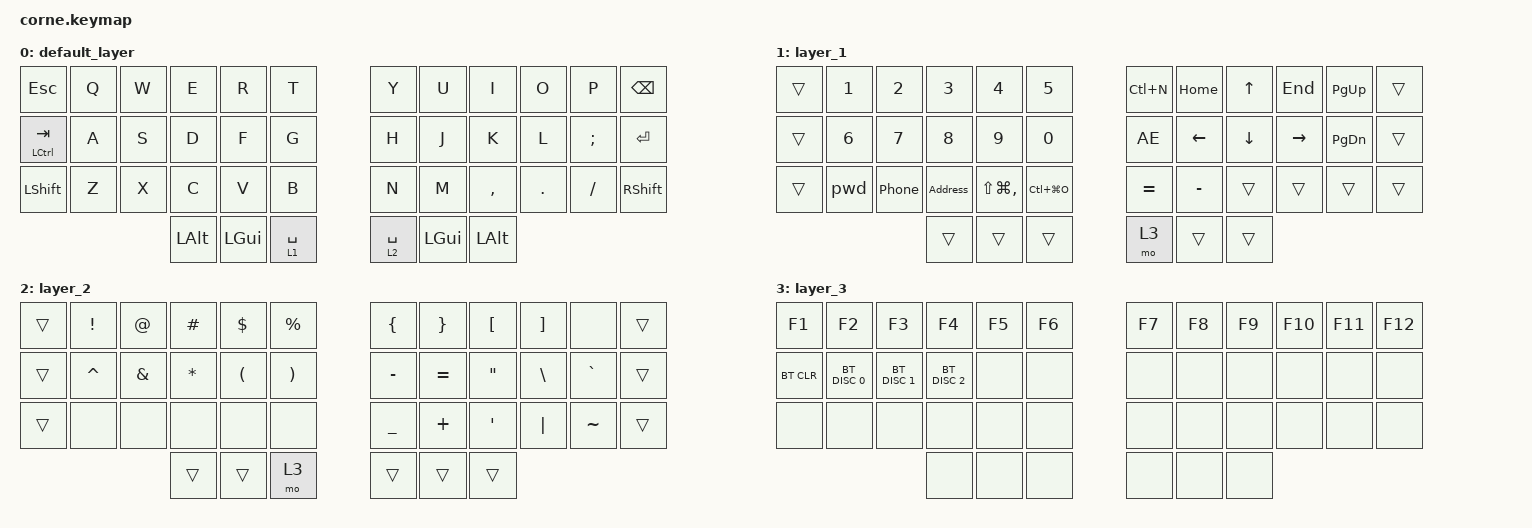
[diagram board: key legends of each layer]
/*
 * Copyright (c) 2020 The ZMK Contributors
 *
 * SPDX-License-Identifier: MIT
 */

#include <behaviors.dtsi>
#include <dt-bindings/zmk/bt.h>
#include <dt-bindings/zmk/keys.h>

/ {
    behaviors {
        tp: tap_preferred {
            compatible = "zmk,behavior-hold-tap";
            label = "TAP_PREFERRED";
            #binding-cells = <2>;
            tapping-term-ms = <150>;
            quick-tap-ms = <0>;
            flavor = "tap-preferred";
            bindings = <&kp>, <&kp>;
        };
    };

    macros {
        AE: AE {
            compatible = "zmk,behavior-macro";
            #binding-cells = <0>;
            bindings = <&kp LA(ENTER) &kp ENTER>;
            label = "AE";
        };

        pwd: pwd {
            compatible = "zmk,behavior-macro";
            #binding-cells = <0>;
            bindings = <&kp N9 &kp N9 &kp N0 &kp N8 &kp N0 &kp N5>;
            label = "PWD";
        };

        Phone: Phone {
            compatible = "zmk,behavior-macro";
            #binding-cells = <0>;
            bindings = <&kp N1 &kp N7 &kp N2 &kp N6 &kp N8 &kp N6 &kp N8 &kp N4 &kp N8 &kp N5 &kp N4>;
            label = "PHONE";
        };

        Address: Address {
            compatible = "zmk,behavior-macro";
            #binding-cells = <0>;
            bindings = <&kp LS(A) &kp N1 &kp N2 &kp N1 &kp N0 &kp N9 &kp SPACE &kp SPACE &kp N1 &kp N7 &kp N2 &kp N6 &kp N8 &kp N6 &kp N8 &kp N4 &kp N8 &kp N5 &kp N4>;
            label = "ADDRESS";
        };
    };

    keymap {
        compatible = "zmk,keymap";

        default_layer {
            // -----------------------------------------------------------------------------------------
            // |  TAB |  Q  |  W  |  E  |  R  |  T  |   |  Y  |  U   |  I  |  O  |  P  | BKSP |
            // | CTRL |  A  |  S  |  D  |  F  |  G  |   |  H  |  J   |  K  |  L  |  ;  |  '   |
            // | SHFT |  Z  |  X  |  C  |  V  |  B  |   |  N  |  M   |  ,  |  .  |  /  | ESC  |
            //                    | GUI | LWR | SPC |   | ENT | RSE  | ALT |

            bindings = <
&kp ESC        &kp Q  &kp W  &kp E     &kp R     &kp T          &kp Y        &kp U     &kp I         &kp O    &kp P     &kp BSPC
&tp LCTRL TAB  &kp A  &kp S  &kp D     &kp F     &kp G          &kp H        &kp J     &kp K         &kp L    &kp SEMI  &kp ENTER
&kp LSHFT      &kp Z  &kp X  &kp C     &kp V     &kp B          &kp N        &kp M     &kp COMMA     &kp DOT  &kp FSLH  &kp RSHFT
                             &kp LALT  &kp LGUI  &lt 1 SPACE    &lt 2 SPACE  &kp LGUI  &kp LEFT_ALT
            >;
        };

        layer_1 {
            bindings = <
&trans  &kp N1  &kp N2  &kp N3    &kp N4             &kp N5           &kp LC(N)  &kp HOME   &kp UP    &kp END    &kp PG_UP  &trans
&trans  &kp N6  &kp N7  &kp N8    &kp N9             &kp N0           &AE        &kp LEFT   &kp DOWN  &kp RIGHT  &kp PG_DN  &trans
&trans  &pwd    &Phone  &Address  &kp LS(LG(COMMA))  &kp LC(LG(O))    &kp EQUAL  &kp MINUS  &trans    &trans     &trans     &trans
                        &trans    &trans             &trans           &mo 3      &trans     &trans
            >;
        };

        layer_2 {
            bindings = <
&trans  &kp EXCL   &kp AT    &kp POUND  &kp DLLR  &kp PRCNT    &kp LBRC   &kp RBRC   &kp LBKT  &kp RBKT  &none      &trans
&trans  &kp CARET  &kp AMPS  &kp STAR   &kp LPAR  &kp RPAR     &kp MINUS  &kp EQUAL  &kp DQT   &kp BSLH  &kp GRAVE  &trans
&trans  &none      &none     &none      &none     &none        &kp UNDER  &kp PLUS   &kp SQT   &kp PIPE  &kp TILDE  &trans
                             &trans     &trans    &mo 3        &trans     &trans     &trans
            >;
        };

        layer_3 {
            bindings = <
&kp F1      &kp F2         &kp F3         &kp F4         &kp F5  &kp F6    &kp F7  &kp F8  &kp F9  &kp F10  &kp F11  &kp F12
&bt BT_CLR  &bt BT_DISC 0  &bt BT_DISC 1  &bt BT_DISC 2  &none   &none     &none   &none   &none   &none    &none    &none
&none       &none          &none          &none          &none   &none     &none   &none   &none   &none    &none    &none
                                          &none          &none   &none     &none   &none   &none
            >;
        };
    };
};
